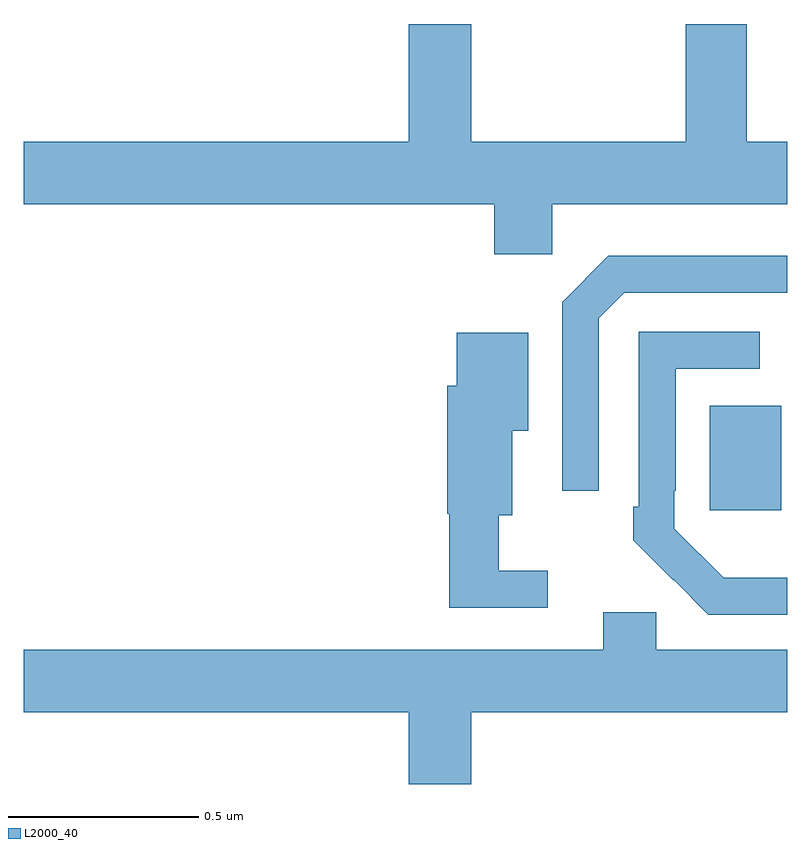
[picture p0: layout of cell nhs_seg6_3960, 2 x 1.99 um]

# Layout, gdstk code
import gdstk
lib = gdstk.Library(unit=1e-6, precision=1e-09)
def R(c, l, rs):  # rectangles x0, y0, x1, y1
    for r in rs: c.add(gdstk.rectangle(r[:2], r[2:], *l))
def P(c, l, *ps):  # polygons
    for p in ps: c.add(gdstk.Polygon(p, *l))
L2000_40 = (2000, 40)

nhs_seg6_3960 = lib.new_cell('nhs_seg6_3960')
R(nhs_seg6_3960, L2000_40, [(165.797,921.225,165.985,921.499)])
P(nhs_seg6_3960, L2000_40, [(165.233,921.897),(165.384,921.897),(165.384,922.028),(166,922.028),(166,922.192),(165.894,922.192),(165.894,922.5),(165.734,922.5),(165.734,922.192),(165.172,922.192),(165.172,922.5),(165.008,922.5),(165.008,922.192),(164,922.192),(164,922.028),(165.233,922.028)],
  [(165.507,921.729),(165.573,921.795),(166,921.795),(166,921.892),(165.532,921.892),(165.411,921.771),(165.411,921.276),(165.507,921.276)],
  [(166,921.048),(165.937,921.048),(165.937,921.049),(165.834,921.049),(165.705,921.177),(165.705,921.277),(165.708,921.277),(165.708,921.597),(165.928,921.597),(165.928,921.693),(165.612,921.693),(165.612,921.235),(165.597,921.235),(165.597,921.147),(165.702,921.042),(165.703,921.043),(165.794,920.952),(166,920.952)],
  [(165.373,921.067),(165.244,921.067),(165.244,921.212),(165.28,921.212),(165.28,921.434),(165.322,921.434),(165.322,921.691),(165.134,921.691),(165.134,921.552),(165.11,921.552),(165.11,921.216),(165.115,921.216),(165.115,920.97),(165.373,920.97)],
  [(165.172,920.696),(166,920.696),(166,920.86),(165.657,920.86),(165.657,920.958),(165.518,920.958),(165.518,920.86),(164,920.86),(164,920.696),(165.008,920.696),(165.008,920.508),(165.172,920.508)])

lib.write_gds('nhs_seg6_3960.gds')
